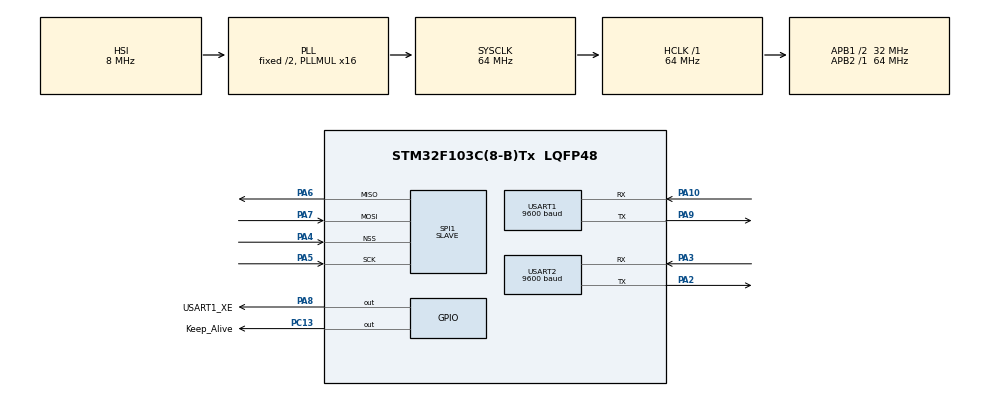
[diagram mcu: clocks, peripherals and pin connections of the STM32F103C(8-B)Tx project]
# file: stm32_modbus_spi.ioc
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IWDG.Prescaler=IWDG_PRESCALER_16
Mcu.Family=STM32F1
Mcu.Name=STM32F103C(8-B)Tx
Mcu.Package=LQFP48
NVIC.PriorityGroup=NVIC_PRIORITYGROUP_4
NVIC.SPI1_IRQn=true\:1\:0\:true\:false\:true\:true\:true\:true
NVIC.TIM1_UP_IRQn=true\:3\:0\:true\:false\:true\:true\:true\:true
NVIC.TIM2_IRQn=true\:4\:0\:true\:false\:true\:true\:true\:true
NVIC.USART1_IRQn=true\:2\:0\:true\:false\:true\:true\:true\:true
NVIC.USART2_IRQn=true\:2\:0\:true\:false\:true\:true\:true\:true
PA10.Mode=Asynchronous
PA10.Signal=USART1_RX
PA2.Mode=Asynchronous
PA2.Signal=USART2_TX
PA3.Mode=Asynchronous
PA3.Signal=USART2_RX
PA4.Mode=NSS_Signal_Hard_Input
PA4.Signal=SPI1_NSS
PA5.Mode=Full_Duplex_Slave
PA5.Signal=SPI1_SCK
PA6.Mode=Full_Duplex_Slave
PA6.Signal=SPI1_MISO
PA7.Mode=Full_Duplex_Slave
PA7.Signal=SPI1_MOSI
PA8.GPIO_Label=USART1_XE
PA8.Signal=GPIO_Output
PA9.Mode=Asynchronous
PA9.Signal=USART1_TX
PC13-TAMPER-RTC.GPIO_Label=Keep_Alive
PC13-TAMPER-RTC.Signal=GPIO_Output
ProjectManager.HeapSize=0x200
ProjectManager.StackSize=0x400
ProjectManager.TargetToolchain=STM32CubeIDE
RCC.AHBFreq_Value=64000000
RCC.APB1CLKDivider=RCC_HCLK_DIV2
RCC.APB1Freq_Value=32000000
RCC.APB1TimFreq_Value=64000000
RCC.APB2Freq_Value=64000000
RCC.APB2TimFreq_Value=64000000
RCC.HCLKFreq_Value=64000000
RCC.PLLMUL=RCC_PLL_MUL16
RCC.SYSCLKFreq_VALUE=64000000
RCC.SYSCLKSource=RCC_SYSCLKSOURCE_PLLCLK
RCC.USBFreq_Value=64000000
SPI1.CRCCalculation=SPI_CRCCALCULATION_DISABLE
SPI1.Direction=SPI_DIRECTION_2LINES
SPI1.Mode=SPI_MODE_SLAVE
SPI1.VirtualNSS=VM_NSSHARD
SPI1.VirtualType=VM_SLAVE
TIM1.Period=10000
TIM1.Prescaler=1279
TIM2.Period=6398
TIM2.Prescaler=10000
USART1.BaudRate=9600
USART1.VirtualMode=VM_ASYNC
USART2.BaudRate=9600
USART2.VirtualMode=VM_ASYNC
VP_IWDG_VS_IWDG.Mode=IWDG_Activate
VP_SYS_VS_ND.Mode=No_Debug
VP_TIM1_VS_ClockSourceINT.Mode=Internal
VP_TIM2_VS_ClockSourceINT.Mode=Internal
board=custom

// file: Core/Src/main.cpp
/* USER CODE BEGIN Header */
/**
  ******************************************************************************
  * @file           : main.c
  * @brief          : Main program body
  ******************************************************************************
  * @attention
  *
  * Copyright (c) 2026 STMicroelectronics.
  * All rights reserved.
  *
  * This software is licensed under terms that can be found in the LICENSE file
  * in the root directory of this software component.
  * If no LICENSE file comes with this software, it is provided AS-IS.
  *
  ******************************************************************************
  */
/* USER CODE END Header */
#include "main.h"

/* USER CODE BEGIN Includes */
#include "modbus.hpp"
#include <cstdio>
#include <cstring>
/* USER CODE END Includes */

/* USER CODE BEGIN PD */
#define NUM_REGS		7
#define SLAVE_ADDR		0x01
/* USER CODE END PD */

IWDG_HandleTypeDef hiwdg;

SPI_HandleTypeDef hspi1;

TIM_HandleTypeDef htim1;
TIM_HandleTypeDef htim2;

UART_HandleTypeDef huart1;
UART_HandleTypeDef huart2;

/* USER CODE BEGIN PV */
Modbus mb(0); // Master mode
/* USER CODE END PV */

void SystemClock_Config(void);
static void MX_GPIO_Init(void);
static void MX_IWDG_Init(void);
static void MX_SPI1_Init(void);
static void MX_TIM2_Init(void);
static void MX_USART1_UART_Init(void);
static void MX_TIM1_Init(void);
static void MX_USART2_UART_Init(void);
/* USER CODE BEGIN PFP */
static uint8_t crc8(uint8_t *data, uint8_t len);
static void update_spi_tx_buf(void);
static void update_uart_tx_buf(void);
/* USER CODE END PFP */

/* USER CODE BEGIN 0 */
// PLC registers starting on 40001
uint16_t mb_regs[NUM_REGS] = {0};

// SPI Buffers
uint8_t spi_rx_buf[10] = {0};
uint8_t spi_tx_buf[10] = {
		0xBB,		// Start byte (ID)
		0x00,		// Motor
		0x00,		// Speed
		0x00,		// Arm
		0x00,		// Presence
		0x00,		// Temperature
		0x00,		// Counter Hi
		0x00,		// Counter Lo
		0x00,		// Alarm
		0x00		// CRC8
};

// UART Buffers
uint8_t uart_rx_buf[10] = {0};
uint8_t uart_tx_buf[10] = {
		0xDD,		// Start byte (ID)
		0x00,		// Motor
		0x00,		// Speed
		0x00,		// Arm
		0x00,		// Presence
		0x00,		// Temperature
		0x00,		// Counter Hi
		0x00,		// Counter Lo
		0x00,		// Alarm
		0x00		// CRC8
};

// Pending changes from SCADA to PLC
volatile uint8_t scada_pending_flag = 0x00; // Flag
volatile uint8_t scada_pending_motor = 0x00; // Value queued
volatile uint8_t scada_pending_speed = 0x00;
volatile uint8_t scada_pending_arm = 0x00;

// Pending changes from HMI to PLC
volatile uint8_t hmi_pending_flag = 0x00; // Flag
volatile uint8_t hmi_pending_motor = 0x00; // Value queued
volatile uint8_t hmi_pending_speed = 0x00;
volatile uint8_t hmi_pending_arm = 0x00;
volatile uint8_t hmi_frame_ready = 0x00; // Receive flag
/* USER CODE END 0 */

int main(void)
{

  /* MCU Configuration--------------------------------------------------------*/

  /* Reset of all peripherals, Initializes the Flash interface and the Systick. */
  HAL_Init();

  /* Configure the system clock */
  SystemClock_Config();

  /* Initialize all configured peripherals */
  MX_GPIO_Init();
  MX_IWDG_Init();
  MX_SPI1_Init();
  MX_TIM2_Init();
  MX_USART1_UART_Init();
  MX_TIM1_Init();
  MX_USART2_UART_Init();
  /* USER CODE BEGIN 2 */
  HAL_TIM_Base_Start_IT(&htim1);
  HAL_TIM_Base_Start_IT(&htim2);

  spi_tx_buf[9] = crc8(&spi_tx_buf[1], 8);
  HAL_SPI_TransmitReceive_IT(&hspi1, spi_tx_buf, spi_rx_buf, 10);

  uart_tx_buf[9] = crc8(&uart_tx_buf[1], 8);
  HAL_UART_Receive_IT(&huart2, uart_rx_buf, 10);
  /* USER CODE END 2 */

  /* Infinite loop */
  /* USER CODE BEGIN WHILE */
  uint32_t now = HAL_GetTick();
  while (1)
  {
	if (hmi_frame_ready) {
		hmi_frame_ready = 0x00;

		if (uart_rx_buf[0] == 0xCC) {
			uint8_t calc = crc8(&uart_rx_buf[1], 8);

			if (calc == uart_rx_buf[9]) {
				if (uart_rx_buf[1] != 0xFF) hmi_pending_motor = uart_rx_buf[1]; // Motor
				if (uart_rx_buf[2] != 0xFF) hmi_pending_speed = uart_rx_buf[2]; // Speed
				if (uart_rx_buf[3] != 0xFF) hmi_pending_arm = uart_rx_buf[3]; // Arm

				if (uart_rx_buf[1] != 0xFF || uart_rx_buf[2] != 0xFF || uart_rx_buf[3] != 0xFF) {
					hmi_pending_flag = 0x01;
				}

				update_uart_tx_buf();
				HAL_StatusTypeDef st = HAL_UART_Transmit(&huart2, uart_tx_buf, 10, 100);

			}
		}
	}
    /* USER CODE END WHILE */

    /* USER CODE BEGIN 3 */
	if ((HAL_GetTick() - now) >= 200) {
		now = HAL_GetTick();
		uint16_t val;

		if (hmi_pending_flag) {
			if (hmi_pending_motor != 0xFF) {
				val = hmi_pending_motor;
				mb.sendFC(SLAVE_ADDR, MB_FC_WRITE_SINGLE, 0, 1, 0, &val);
			}
			if (hmi_pending_speed != 0xFF) {
				val = hmi_pending_speed;
				mb.sendFC(SLAVE_ADDR, MB_FC_WRITE_SINGLE, 0, 1, 1, &val);
			}
			if (hmi_pending_arm != 0xFF) {
				val = hmi_pending_arm;
				mb.sendFC(SLAVE_ADDR, MB_FC_WRITE_SINGLE, 0, 1, 2, &val);
			}

			hmi_pending_motor = hmi_pending_speed = hmi_pending_arm = 0xFF;
			hmi_pending_flag = 0x00;
		}

		if (scada_pending_flag) {
			if (scada_pending_motor != 0xFF) {
				val = scada_pending_motor;
				mb.sendFC(SLAVE_ADDR, MB_FC_WRITE_SINGLE, 0, 1, 0, &val);
			}
			if (scada_pending_speed != 0xFF) {
				val = scada_pending_speed;
				mb.sendFC(SLAVE_ADDR, MB_FC_WRITE_SINGLE, 0, 1, 1, &val);
			}
			if (scada_pending_arm != 0xFF) {
				val = scada_pending_arm;
				mb.sendFC(SLAVE_ADDR, MB_FC_WRITE_SINGLE, 0, 1, 2, &val);
			}

			scada_pending_motor = scada_pending_speed = scada_pending_arm = 0xFF;
			scada_pending_flag = 0x00;
		}

		MB_StatusTypeDef st = mb.sendFC(SLAVE_ADDR, MB_FC_READ_REGS, 0, NUM_REGS, 0, mb_regs);

		if (st == MB_OK) {
			update_spi_tx_buf();
		}
	}
  }
  /* USER CODE END 3 */
}

void SystemClock_Config(void)
{
  RCC_OscInitTypeDef RCC_OscInitStruct = {0};
  RCC_ClkInitTypeDef RCC_ClkInitStruct = {0};

  /** Initializes the RCC Oscillators according to the specified parameters
  * in the RCC_OscInitTypeDef structure.
  */
  RCC_OscInitStruct.OscillatorType = RCC_OSCILLATORTYPE_HSI|RCC_OSCILLATORTYPE_LSI;
  RCC_OscInitStruct.HSIState = RCC_HSI_ON;
  RCC_OscInitStruct.HSICalibrationValue = RCC_HSICALIBRATION_DEFAULT;
  RCC_OscInitStruct.LSIState = RCC_LSI_ON;
  RCC_OscInitStruct.PLL.PLLState = RCC_PLL_ON;
  RCC_OscInitStruct.PLL.PLLSource = RCC_PLLSOURCE_HSI_DIV2;
  RCC_OscInitStruct.PLL.PLLMUL = RCC_PLL_MUL16;
  if (HAL_RCC_OscConfig(&RCC_OscInitStruct) != HAL_OK)
  {
    Error_Handler();
  }

  /** Initializes the CPU, AHB and APB buses clocks
  */
  RCC_ClkInitStruct.ClockType = RCC_CLOCKTYPE_HCLK|RCC_CLOCKTYPE_SYSCLK
                              |RCC_CLOCKTYPE_PCLK1|RCC_CLOCKTYPE_PCLK2;
  RCC_ClkInitStruct.SYSCLKSource = RCC_SYSCLKSOURCE_PLLCLK;
  RCC_ClkInitStruct.AHBCLKDivider = RCC_SYSCLK_DIV1;
  RCC_ClkInitStruct.APB1CLKDivider = RCC_HCLK_DIV2;
  RCC_ClkInitStruct.APB2CLKDivider = RCC_HCLK_DIV1;

  if (HAL_RCC_ClockConfig(&RCC_ClkInitStruct, FLASH_LATENCY_2) != HAL_OK)
  {
    Error_Handler();
  }
}

static void MX_IWDG_Init(void)
{

  hiwdg.Instance = IWDG;
  hiwdg.Init.Prescaler = IWDG_PRESCALER_16;
  hiwdg.Init.Reload = 4095;
  if (HAL_IWDG_Init(&hiwdg) != HAL_OK)
  {
    Error_Handler();
  }

}

static void MX_SPI1_Init(void)
{

  /* SPI1 parameter configuration*/
  hspi1.Instance = SPI1;
  hspi1.Init.Mode = SPI_MODE_SLAVE;
  hspi1.Init.Direction = SPI_DIRECTION_2LINES;
  hspi1.Init.DataSize = SPI_DATASIZE_8BIT;
  hspi1.Init.CLKPolarity = SPI_POLARITY_LOW;
  hspi1.Init.CLKPhase = SPI_PHASE_1EDGE;
  hspi1.Init.NSS = SPI_NSS_HARD_INPUT;
  hspi1.Init.FirstBit = SPI_FIRSTBIT_MSB;
  hspi1.Init.TIMode = SPI_TIMODE_DISABLE;
  hspi1.Init.CRCCalculation = SPI_CRCCALCULATION_DISABLE;
  hspi1.Init.CRCPolynomial = 10;
  if (HAL_SPI_Init(&hspi1) != HAL_OK)
  {
    Error_Handler();
  }

}

static void MX_TIM1_Init(void)
{

  TIM_ClockConfigTypeDef sClockSourceConfig = {0};
  TIM_MasterConfigTypeDef sMasterConfig = {0};

  htim1.Instance = TIM1;
  htim1.Init.Prescaler = 1279;
  htim1.Init.CounterMode = TIM_COUNTERMODE_UP;
  htim1.Init.Period = 10000;
  htim1.Init.ClockDivision = TIM_CLOCKDIVISION_DIV1;
  htim1.Init.RepetitionCounter = 0;
  htim1.Init.AutoReloadPreload = TIM_AUTORELOAD_PRELOAD_DISABLE;
  if (HAL_TIM_Base_Init(&htim1) != HAL_OK)
  {
    Error_Handler();
  }
  sClockSourceConfig.ClockSource = TIM_CLOCKSOURCE_INTERNAL;
  if (HAL_TIM_ConfigClockSource(&htim1, &sClockSourceConfig) != HAL_OK)
  {
    Error_Handler();
  }
  sMasterConfig.MasterOutputTrigger = TIM_TRGO_RESET;
  sMasterConfig.MasterSlaveMode = TIM_MASTERSLAVEMODE_DISABLE;
  if (HAL_TIMEx_MasterConfigSynchronization(&htim1, &sMasterConfig) != HAL_OK)
  {
    Error_Handler();
  }

}

static void MX_TIM2_Init(void)
{

  TIM_ClockConfigTypeDef sClockSourceConfig = {0};
  TIM_MasterConfigTypeDef sMasterConfig = {0};

  htim2.Instance = TIM2;
  htim2.Init.Prescaler = 10000;
  htim2.Init.CounterMode = TIM_COUNTERMODE_UP;
  htim2.Init.Period = 6398;
  htim2.Init.ClockDivision = TIM_CLOCKDIVISION_DIV1;
  htim2.Init.AutoReloadPreload = TIM_AUTORELOAD_PRELOAD_DISABLE;
  if (HAL_TIM_Base_Init(&htim2) != HAL_OK)
  {
    Error_Handler();
  }
  sClockSourceConfig.ClockSource = TIM_CLOCKSOURCE_INTERNAL;
  if (HAL_TIM_ConfigClockSource(&htim2, &sClockSourceConfig) != HAL_OK)
  {
    Error_Handler();
  }
  sMasterConfig.MasterOutputTrigger = TIM_TRGO_RESET;
  sMasterConfig.MasterSlaveMode = TIM_MASTERSLAVEMODE_DISABLE;
  if (HAL_TIMEx_MasterConfigSynchronization(&htim2, &sMasterConfig) != HAL_OK)
  {
    Error_Handler();
  }

}

static void MX_USART1_UART_Init(void)
{

  huart1.Instance = USART1;
  huart1.Init.BaudRate = 9600;
  huart1.Init.WordLength = UART_WORDLENGTH_8B;
  huart1.Init.StopBits = UART_STOPBITS_1;
  huart1.Init.Parity = UART_PARITY_NONE;
  huart1.Init.Mode = UART_MODE_TX_RX;
  huart1.Init.HwFlowCtl = UART_HWCONTROL_NONE;
  huart1.Init.OverSampling = UART_OVERSAMPLING_16;
  if (HAL_UART_Init(&huart1) != HAL_OK)
  {
    Error_Handler();
  }

}

static void MX_USART2_UART_Init(void)
{

  huart2.Instance = USART2;
  huart2.Init.BaudRate = 9600;
  huart2.Init.WordLength = UART_WORDLENGTH_8B;
  huart2.Init.StopBits = UART_STOPBITS_1;
  huart2.Init.Parity = UART_PARITY_NONE;
  huart2.Init.Mode = UART_MODE_TX_RX;
  huart2.Init.HwFlowCtl = UART_HWCONTROL_NONE;
  huart2.Init.OverSampling = UART_OVERSAMPLING_16;
  if (HAL_UART_Init(&huart2) != HAL_OK)
  {
    Error_Handler();
  }

}

static void MX_GPIO_Init(void)
{
  GPIO_InitTypeDef GPIO_InitStruct = {0};

  /* GPIO Ports Clock Enable */
  __HAL_RCC_GPIOC_CLK_ENABLE();
  __HAL_RCC_GPIOA_CLK_ENABLE();

  /*Configure GPIO pin Output Level */
  HAL_GPIO_WritePin(Keep_Alive_GPIO_Port, Keep_Alive_Pin, GPIO_PIN_RESET);

  /*Configure GPIO pin Output Level */
  HAL_GPIO_WritePin(USART1_XE_GPIO_Port, USART1_XE_Pin, GPIO_PIN_RESET);

  /*Configure GPIO pin : Keep_Alive_Pin */
  GPIO_InitStruct.Pin = Keep_Alive_Pin;
  GPIO_InitStruct.Mode = GPIO_MODE_OUTPUT_PP;
  GPIO_InitStruct.Pull = GPIO_NOPULL;
  GPIO_InitStruct.Speed = GPIO_SPEED_FREQ_LOW;
  HAL_GPIO_Init(Keep_Alive_GPIO_Port, &GPIO_InitStruct);

  /*Configure GPIO pin : USART1_XE_Pin */
  GPIO_InitStruct.Pin = USART1_XE_Pin;
  GPIO_InitStruct.Mode = GPIO_MODE_OUTPUT_PP;
  GPIO_InitStruct.Pull = GPIO_NOPULL;
  GPIO_InitStruct.Speed = GPIO_SPEED_FREQ_LOW;
  HAL_GPIO_Init(USART1_XE_GPIO_Port, &GPIO_InitStruct);

}

/* USER CODE BEGIN 4 */
static uint8_t crc8(uint8_t *data, uint8_t len) {
	uint8_t crc = 0;
	for (int i = 0; i < len; i++) {
		crc ^= data[i];
	}
	return crc;
}

static void update_spi_tx_buf(void) {

	uint8_t tmp[10];

	tmp[0] = 0xBB;
	tmp[1] = (uint8_t) mb_regs[0];				// motor
	tmp[2] = (uint8_t) mb_regs[1];				// speed
	tmp[3] = (uint8_t) mb_regs[2];				// arm
	tmp[4] = (uint8_t) mb_regs[3];				// presence
	tmp[5] = (uint8_t) mb_regs[4];				// temperature
	tmp[6] = (uint8_t) (mb_regs[5] >> 8);		// count hi
	tmp[7] = (uint8_t) (mb_regs[5] & 0xFF);		// count lo
	tmp[8] = (uint8_t) mb_regs[6];				// overheat
	tmp[9] = crc8(&spi_tx_buf[1], 8);

	HAL_NVIC_DisableIRQ(SPI1_IRQn);
	memcpy(spi_tx_buf, tmp, 10);
	HAL_NVIC_EnableIRQ(SPI1_IRQn);
}

static void update_uart_tx_buf(void) {
	uint8_t tmp[10];

	tmp[0] = 0xDD;
	tmp[1] = (uint8_t) mb_regs[0];				// motor
	tmp[2] = (uint8_t) mb_regs[1];				// speed
	tmp[3] = (uint8_t) mb_regs[2];				// arm
	tmp[4] = (uint8_t) mb_regs[3];				// presence
	tmp[5] = (uint8_t) mb_regs[4];				// temperature
	tmp[6] = (uint8_t) (mb_regs[5] >> 8);		// count hi
	tmp[7] = (uint8_t) (mb_regs[5] & 0xFF);		// count lo
	tmp[8] = (uint8_t) mb_regs[6];				// overheat
	tmp[9] = crc8(&tmp[1], 8);

	HAL_NVIC_DisableIRQ(USART2_IRQn);
	memcpy(uart_tx_buf, tmp, 10);
	HAL_NVIC_EnableIRQ(USART2_IRQn);
}

void HAL_SPI_TxRxCpltCallback(SPI_HandleTypeDef *hspi) {
	if (hspi->Instance == SPI1) {

		// Verify received frame from ESP32
		if (spi_rx_buf[0] == 0xAA) {
			uint8_t calc = crc8(&spi_rx_buf[1], 8);

			if (calc == spi_rx_buf[9]) {

				if (spi_rx_buf[1] != 0xFF) scada_pending_motor = spi_rx_buf[1]; // Motor
				if (spi_rx_buf[2] != 0xFF) scada_pending_speed = spi_rx_buf[2]; // Speed
				if (spi_rx_buf[3] != 0xFF) scada_pending_arm = spi_rx_buf[3]; // Arm

				if (spi_rx_buf[1] != 0xFF || spi_rx_buf[2] != 0xFF || spi_rx_buf[3] != 0xFF) {
					scada_pending_flag = 0x01;
				}
			}
		}

		// Recalculate CRC and arm next transaction
		HAL_SPI_TransmitReceive_IT(&hspi1, spi_tx_buf, spi_rx_buf, 10);
	}
}

void HAL_UART_RxCpltCallback(UART_HandleTypeDef *huart) {
	if (huart->Instance == USART2) {
		hmi_frame_ready = 0x01;
		HAL_UART_Receive_IT(&huart2, uart_rx_buf, 10);
	}
}

void HAL_TIM_PeriodElapsedCallback(TIM_HandleTypeDef *htim) {
	if (htim->Instance == TIM1) {
		HAL_GPIO_TogglePin(Keep_Alive_GPIO_Port, Keep_Alive_Pin);
	}

	if (htim->Instance == TIM2) {
		if (HAL_IWDG_Refresh(&hiwdg) != HAL_OK) {
			Error_Handler();
		}

	}
}
/* USER CODE END 4 */

void Error_Handler(void)
{
  __disable_irq();
  while (1)
  {
  }
}
